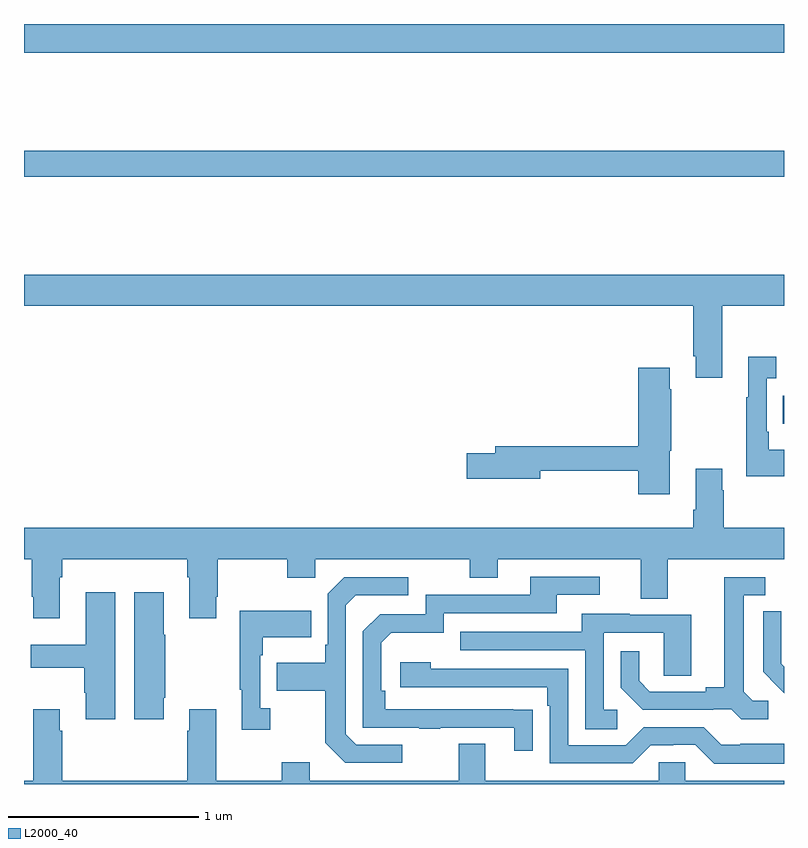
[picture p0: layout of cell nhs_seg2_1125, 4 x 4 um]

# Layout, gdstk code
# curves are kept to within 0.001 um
import gdstk
lib = gdstk.Library(unit=1e-6, precision=1e-09)
def R(c, l, rs):  # rectangles x0, y0, x1, y1
    for r in rs: c.add(gdstk.rectangle(r[:2], r[2:], *l))
def P(c, l, *ps):  # polygons
    for p in ps: c.add(gdstk.Polygon(p, *l))
L2000_40 = (2000, 40)

nhs_seg2_1125 = lib.new_cell('nhs_seg2_1125')
R(nhs_seg2_1125, L2000_40, [(172.993,633.695,173,633.843), (169,634.996,173,635.132), (169,635.648,173,635.8)])
P(nhs_seg2_1125, L2000_40, [(172.675,634.316),(173,634.316),(173,634.48),(169,634.48),(169,634.316),(172.523,634.316),(172.523,634.051),(172.535,634.051),(172.535,633.939),(172.675,633.939)],
  [(173,633.559),(172.921,633.559),(172.921,633.655),(172.908,633.655),(172.908,633.935),(172.96,633.935),(172.96,634.048),(172.811,634.048),(172.811,633.835),(172.8,633.835),(172.8,633.419),(173,633.419)],
  [(172.399,633.555),(172.407,633.555),(172.407,633.878),(172.399,633.878),(172.399,633.991),(172.232,633.991),(172.232,633.578),(171.479,633.578),(171.479,633.542),(171.33,633.542),(171.33,633.407),(171.718,633.407),(171.718,633.45),(172.232,633.45),(172.232,633.324),(172.399,633.324)],
  [(169,632.984),(169.042,632.984),(169.042,632.785),(169.049,632.785),(169.049,632.673),(169.189,632.673),(169.189,632.888),(169.202,632.888),(169.202,632.984),(169.859,632.984),(169.859,632.888),(169.871,632.888),(169.871,632.673),(170.011,632.673),(170.011,632.785),(170.019,632.785),(170.019,632.984),(170.386,632.984),(170.386,632.885),(170.532,632.885),(170.532,632.984),(171.346,632.984),(171.346,632.885),(171.493,632.885),(171.493,632.984),(172.247,632.984),(172.247,632.776),(172.387,632.776),(172.387,632.984),(173,632.984),(173,633.148),(172.683,633.148),(172.683,633.347),(172.675,633.347),(172.675,633.46),(172.535,633.46),(172.535,633.244),(172.523,633.244),(172.523,633.148),(169,633.148)],
  [(171.677,632.192),(170.9,632.193),(170.9,632.29),(170.88,632.29),(170.88,632.544),(170.933,632.597),(171.21,632.597),(171.21,632.7),(171.805,632.7),(171.805,632.796),(172.03,632.796),(172.03,632.892),(171.665,632.892),(171.665,632.796),(171.114,632.796),(171.114,632.694),(170.874,632.694),(170.784,632.604),(170.784,632.097),(171.079,632.097),(171.079,632.092),(171.191,632.092),(171.191,632.097),(171.581,632.097),(171.581,631.974),(171.677,631.974)],
  [(170.992,632.007),(170.748,632.007),(170.694,632.061),(170.694,632.742),(170.745,632.793),(171.022,632.793),(171.022,632.889),(170.685,632.889),(170.598,632.802),(170.598,632.533),(170.586,632.533),(170.586,632.437),(170.329,632.437),(170.329,632.29),(170.586,632.29),(170.586,632.017),(170.691,631.911),(170.992,631.911)],
  [(172.918,632.238),(172.836,632.238),(172.789,632.285),(172.789,632.793),(172.9,632.793),(172.9,632.889),(172.685,632.889),(172.685,632.309),(172.589,632.309),(172.589,632.286),(172.294,632.286),(172.237,632.343),(172.237,632.5),(172.14,632.5),(172.14,632.306),(172.256,632.19),(172.628,632.19),(172.628,632.193),(172.722,632.193),(172.774,632.141),(172.918,632.141)],
  [(169.735,632.254),(169.743,632.254),(169.743,632.585),(169.735,632.585),(169.735,632.809),(169.58,632.809),(169.58,632.142),(169.735,632.142)],
  [(169.48,632.809),(169.325,632.809),(169.325,632.533),(169.035,632.533),(169.035,632.411),(169.318,632.411),(169.318,632.281),(169.325,632.281),(169.325,632.142),(169.48,632.142)],
  [(170.296,632.198),(170.244,632.198),(170.244,632.477),(170.257,632.477),(170.257,632.573),(170.513,632.573),(170.513,632.713),(170.136,632.713),(170.136,632.297),(170.147,632.297),(170.147,632.085),(170.296,632.085)],
  [(173,632.417),(172.985,632.432),(172.985,632.554),(172.986,632.554),(172.986,632.708),(172.89,632.708),(172.89,632.39),(172.963,632.317),(172.962,632.316),(173,632.278)],
  [(172.123,632.19),(172.05,632.19),(172.05,632.595),(172.368,632.595),(172.368,632.371),(172.513,632.371),(172.513,632.691),(172.189,632.691),(172.189,632.695),(171.935,632.695),(171.935,632.601),(171.295,632.601),(171.295,632.505),(171.954,632.505),(171.954,632.089),(172.123,632.089)],
  [(173,632.011),(172.771,632.011),(172.771,632.007),(172.671,632.007),(172.578,632.1),(172.263,632.1),(172.167,632.004),(171.864,632.004),(171.864,632.406),(171.14,632.406),(171.14,632.44),(170.979,632.44),(170.979,632.31),(171.755,632.31),(171.755,632.213),(171.768,632.213),(171.768,631.908),(172.203,631.908),(172.299,632.004),(172.418,632.004),(172.418,632.007),(172.533,632.007),(172.633,631.907),(173,631.907)],
  [(173,631.816),(172.479,631.816),(172.479,631.914),(172.341,631.914),(172.341,631.816),(171.427,631.816),(171.427,632.011),(171.287,632.011),(171.287,631.816),(170.503,631.816),(170.503,631.915),(170.356,631.915),(170.356,631.816),(170.011,631.816),(170.011,632.194),(169.871,632.194),(169.871,632.081),(169.859,632.081),(169.859,631.816),(169.202,631.816),(169.202,632.081),(169.189,632.081),(169.189,632.194),(169.049,632.194),(169.049,631.816),(169,631.816),(169,631.8),(173,631.8)])

lib.write_gds('nhs_seg2_1125.gds')
